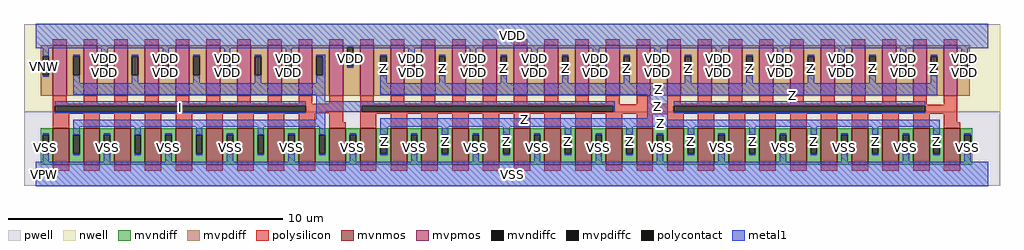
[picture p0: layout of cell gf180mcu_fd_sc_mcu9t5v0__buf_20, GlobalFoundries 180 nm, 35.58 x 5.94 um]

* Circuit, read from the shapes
.subckt gf180mcu_fd_sc_mcu9t5v0__buf_20 I Z VDD VNW VPW VSS
XM1 n1 I VSS VPW nfet_06v0 w=1.32u l=0.6u m=10
XM2 Z n1 VSS VPW nfet_06v0 w=1.32u l=0.6u m=20
XM3 n1 I VDD VNW pfet_06v0 w=1.83u l=0.5u m=10
XM4 Z n1 VDD VNW pfet_06v0 w=1.83u l=0.5u m=20
.ends

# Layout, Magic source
magic
tech gf180mcuD
magscale 1 10
<< nwell >>
rect -86 453 7030 1094
<< pwell >>
rect -86 -86 7030 453
<< mvnmos >>
rect 124 69 244 333
rect 348 69 468 333
rect 572 69 692 333
rect 796 69 916 333
rect 1020 69 1140 333
rect 1244 69 1364 333
rect 1468 69 1588 333
rect 1692 69 1812 333
rect 1916 69 2036 333
rect 2140 69 2260 333
rect 2364 69 2484 333
rect 2588 69 2708 333
rect 2812 69 2932 333
rect 3036 69 3156 333
rect 3260 69 3380 333
rect 3484 69 3604 333
rect 3708 69 3828 333
rect 3932 69 4052 333
rect 4156 69 4276 333
rect 4380 69 4500 333
rect 4604 69 4724 333
rect 4828 69 4948 333
rect 5052 69 5172 333
rect 5276 69 5396 333
rect 5500 69 5620 333
rect 5724 69 5844 333
rect 5948 69 6068 333
rect 6172 69 6292 333
rect 6396 69 6516 333
rect 6620 69 6740 333
<< mvpmos >>
rect 124 573 224 939
rect 348 573 448 939
rect 572 573 672 939
rect 796 573 896 939
rect 1020 573 1120 939
rect 1244 573 1344 939
rect 1468 573 1568 939
rect 1692 573 1792 939
rect 1916 573 2016 939
rect 2140 573 2240 939
rect 2364 573 2464 939
rect 2588 573 2688 939
rect 2812 573 2912 939
rect 3036 573 3136 939
rect 3260 573 3360 939
rect 3484 573 3584 939
rect 3708 573 3808 939
rect 3932 573 4032 939
rect 4156 573 4256 939
rect 4380 573 4480 939
rect 4604 573 4704 939
rect 4828 573 4928 939
rect 5052 573 5152 939
rect 5276 573 5376 939
rect 5500 573 5600 939
rect 5724 573 5824 939
rect 5948 573 6048 939
rect 6172 573 6272 939
rect 6396 573 6496 939
rect 6620 573 6720 939
<< mvndiff >>
rect 36 287 124 333
rect 36 147 49 287
rect 95 147 124 287
rect 36 69 124 147
rect 244 287 348 333
rect 244 147 273 287
rect 319 147 348 287
rect 244 69 348 147
rect 468 287 572 333
rect 468 147 497 287
rect 543 147 572 287
rect 468 69 572 147
rect 692 287 796 333
rect 692 147 721 287
rect 767 147 796 287
rect 692 69 796 147
rect 916 287 1020 333
rect 916 147 945 287
rect 991 147 1020 287
rect 916 69 1020 147
rect 1140 287 1244 333
rect 1140 147 1169 287
rect 1215 147 1244 287
rect 1140 69 1244 147
rect 1364 287 1468 333
rect 1364 147 1393 287
rect 1439 147 1468 287
rect 1364 69 1468 147
rect 1588 287 1692 333
rect 1588 147 1617 287
rect 1663 147 1692 287
rect 1588 69 1692 147
rect 1812 287 1916 333
rect 1812 147 1841 287
rect 1887 147 1916 287
rect 1812 69 1916 147
rect 2036 287 2140 333
rect 2036 147 2065 287
rect 2111 147 2140 287
rect 2036 69 2140 147
rect 2260 287 2364 333
rect 2260 147 2289 287
rect 2335 147 2364 287
rect 2260 69 2364 147
rect 2484 287 2588 333
rect 2484 147 2513 287
rect 2559 147 2588 287
rect 2484 69 2588 147
rect 2708 287 2812 333
rect 2708 147 2737 287
rect 2783 147 2812 287
rect 2708 69 2812 147
rect 2932 287 3036 333
rect 2932 147 2961 287
rect 3007 147 3036 287
rect 2932 69 3036 147
rect 3156 287 3260 333
rect 3156 147 3185 287
rect 3231 147 3260 287
rect 3156 69 3260 147
rect 3380 287 3484 333
rect 3380 147 3409 287
rect 3455 147 3484 287
rect 3380 69 3484 147
rect 3604 287 3708 333
rect 3604 147 3633 287
rect 3679 147 3708 287
rect 3604 69 3708 147
rect 3828 287 3932 333
rect 3828 147 3857 287
rect 3903 147 3932 287
rect 3828 69 3932 147
rect 4052 287 4156 333
rect 4052 147 4081 287
rect 4127 147 4156 287
rect 4052 69 4156 147
rect 4276 287 4380 333
rect 4276 147 4305 287
rect 4351 147 4380 287
rect 4276 69 4380 147
rect 4500 287 4604 333
rect 4500 147 4529 287
rect 4575 147 4604 287
rect 4500 69 4604 147
rect 4724 287 4828 333
rect 4724 147 4753 287
rect 4799 147 4828 287
rect 4724 69 4828 147
rect 4948 287 5052 333
rect 4948 147 4977 287
rect 5023 147 5052 287
rect 4948 69 5052 147
rect 5172 287 5276 333
rect 5172 147 5201 287
rect 5247 147 5276 287
rect 5172 69 5276 147
rect 5396 287 5500 333
rect 5396 147 5425 287
rect 5471 147 5500 287
rect 5396 69 5500 147
rect 5620 287 5724 333
rect 5620 147 5649 287
rect 5695 147 5724 287
rect 5620 69 5724 147
rect 5844 287 5948 333
rect 5844 147 5873 287
rect 5919 147 5948 287
rect 5844 69 5948 147
rect 6068 287 6172 333
rect 6068 147 6097 287
rect 6143 147 6172 287
rect 6068 69 6172 147
rect 6292 287 6396 333
rect 6292 147 6321 287
rect 6367 147 6396 287
rect 6292 69 6396 147
rect 6516 287 6620 333
rect 6516 147 6545 287
rect 6591 147 6620 287
rect 6516 69 6620 147
rect 6740 287 6828 333
rect 6740 147 6769 287
rect 6815 147 6828 287
rect 6740 69 6828 147
<< mvpdiff >>
rect 36 861 124 939
rect 36 721 49 861
rect 95 721 124 861
rect 36 573 124 721
rect 224 861 348 939
rect 224 721 273 861
rect 319 721 348 861
rect 224 573 348 721
rect 448 861 572 939
rect 448 721 477 861
rect 523 721 572 861
rect 448 573 572 721
rect 672 861 796 939
rect 672 721 701 861
rect 747 721 796 861
rect 672 573 796 721
rect 896 861 1020 939
rect 896 721 925 861
rect 971 721 1020 861
rect 896 573 1020 721
rect 1120 861 1244 939
rect 1120 721 1149 861
rect 1195 721 1244 861
rect 1120 573 1244 721
rect 1344 861 1468 939
rect 1344 721 1373 861
rect 1419 721 1468 861
rect 1344 573 1468 721
rect 1568 861 1692 939
rect 1568 721 1597 861
rect 1643 721 1692 861
rect 1568 573 1692 721
rect 1792 861 1916 939
rect 1792 721 1821 861
rect 1867 721 1916 861
rect 1792 573 1916 721
rect 2016 861 2140 939
rect 2016 721 2045 861
rect 2091 721 2140 861
rect 2016 573 2140 721
rect 2240 926 2364 939
rect 2240 786 2269 926
rect 2315 786 2364 926
rect 2240 573 2364 786
rect 2464 861 2588 939
rect 2464 721 2513 861
rect 2559 721 2588 861
rect 2464 573 2588 721
rect 2688 861 2812 939
rect 2688 721 2717 861
rect 2763 721 2812 861
rect 2688 573 2812 721
rect 2912 861 3036 939
rect 2912 721 2941 861
rect 2987 721 3036 861
rect 2912 573 3036 721
rect 3136 861 3260 939
rect 3136 721 3165 861
rect 3211 721 3260 861
rect 3136 573 3260 721
rect 3360 861 3484 939
rect 3360 721 3389 861
rect 3435 721 3484 861
rect 3360 573 3484 721
rect 3584 861 3708 939
rect 3584 721 3613 861
rect 3659 721 3708 861
rect 3584 573 3708 721
rect 3808 861 3932 939
rect 3808 721 3837 861
rect 3883 721 3932 861
rect 3808 573 3932 721
rect 4032 861 4156 939
rect 4032 721 4061 861
rect 4107 721 4156 861
rect 4032 573 4156 721
rect 4256 861 4380 939
rect 4256 721 4285 861
rect 4331 721 4380 861
rect 4256 573 4380 721
rect 4480 861 4604 939
rect 4480 721 4509 861
rect 4555 721 4604 861
rect 4480 573 4604 721
rect 4704 861 4828 939
rect 4704 721 4733 861
rect 4779 721 4828 861
rect 4704 573 4828 721
rect 4928 861 5052 939
rect 4928 721 4957 861
rect 5003 721 5052 861
rect 4928 573 5052 721
rect 5152 861 5276 939
rect 5152 721 5181 861
rect 5227 721 5276 861
rect 5152 573 5276 721
rect 5376 861 5500 939
rect 5376 721 5405 861
rect 5451 721 5500 861
rect 5376 573 5500 721
rect 5600 861 5724 939
rect 5600 721 5629 861
rect 5675 721 5724 861
rect 5600 573 5724 721
rect 5824 861 5948 939
rect 5824 721 5853 861
rect 5899 721 5948 861
rect 5824 573 5948 721
rect 6048 861 6172 939
rect 6048 721 6077 861
rect 6123 721 6172 861
rect 6048 573 6172 721
rect 6272 861 6396 939
rect 6272 721 6301 861
rect 6347 721 6396 861
rect 6272 573 6396 721
rect 6496 861 6620 939
rect 6496 721 6525 861
rect 6571 721 6620 861
rect 6496 573 6620 721
rect 6720 861 6808 939
rect 6720 721 6749 861
rect 6795 721 6808 861
rect 6720 573 6808 721
<< mvndiffc >>
rect 49 147 95 287
rect 273 147 319 287
rect 497 147 543 287
rect 721 147 767 287
rect 945 147 991 287
rect 1169 147 1215 287
rect 1393 147 1439 287
rect 1617 147 1663 287
rect 1841 147 1887 287
rect 2065 147 2111 287
rect 2289 147 2335 287
rect 2513 147 2559 287
rect 2737 147 2783 287
rect 2961 147 3007 287
rect 3185 147 3231 287
rect 3409 147 3455 287
rect 3633 147 3679 287
rect 3857 147 3903 287
rect 4081 147 4127 287
rect 4305 147 4351 287
rect 4529 147 4575 287
rect 4753 147 4799 287
rect 4977 147 5023 287
rect 5201 147 5247 287
rect 5425 147 5471 287
rect 5649 147 5695 287
rect 5873 147 5919 287
rect 6097 147 6143 287
rect 6321 147 6367 287
rect 6545 147 6591 287
rect 6769 147 6815 287
<< mvpdiffc >>
rect 49 721 95 861
rect 273 721 319 861
rect 477 721 523 861
rect 701 721 747 861
rect 925 721 971 861
rect 1149 721 1195 861
rect 1373 721 1419 861
rect 1597 721 1643 861
rect 1821 721 1867 861
rect 2045 721 2091 861
rect 2269 786 2315 926
rect 2513 721 2559 861
rect 2717 721 2763 861
rect 2941 721 2987 861
rect 3165 721 3211 861
rect 3389 721 3435 861
rect 3613 721 3659 861
rect 3837 721 3883 861
rect 4061 721 4107 861
rect 4285 721 4331 861
rect 4509 721 4555 861
rect 4733 721 4779 861
rect 4957 721 5003 861
rect 5181 721 5227 861
rect 5405 721 5451 861
rect 5629 721 5675 861
rect 5853 721 5899 861
rect 6077 721 6123 861
rect 6301 721 6347 861
rect 6525 721 6571 861
rect 6749 721 6795 861
<< polysilicon >>
rect 124 939 224 983
rect 348 939 448 983
rect 572 939 672 983
rect 796 939 896 983
rect 1020 939 1120 983
rect 1244 939 1344 983
rect 1468 939 1568 983
rect 1692 939 1792 983
rect 1916 939 2016 983
rect 2140 939 2240 983
rect 2364 939 2464 983
rect 2588 939 2688 983
rect 2812 939 2912 983
rect 3036 939 3136 983
rect 3260 939 3360 983
rect 3484 939 3584 983
rect 3708 939 3808 983
rect 3932 939 4032 983
rect 4156 939 4256 983
rect 4380 939 4480 983
rect 4604 939 4704 983
rect 4828 939 4928 983
rect 5052 939 5152 983
rect 5276 939 5376 983
rect 5500 939 5600 983
rect 5724 939 5824 983
rect 5948 939 6048 983
rect 6172 939 6272 983
rect 6396 939 6496 983
rect 6620 939 6720 983
rect 124 513 224 573
rect 348 513 448 573
rect 572 513 672 573
rect 796 513 896 573
rect 1020 513 1120 573
rect 1244 513 1344 573
rect 1468 513 1568 573
rect 1692 513 1792 573
rect 1916 513 2016 573
rect 2140 513 2240 573
rect 124 500 2240 513
rect 124 454 137 500
rect 1969 454 2240 500
rect 124 443 2240 454
rect 124 441 2036 443
rect 124 333 244 441
rect 348 333 468 441
rect 572 333 692 441
rect 796 333 916 441
rect 1020 333 1140 441
rect 1244 333 1364 441
rect 1468 333 1588 441
rect 1692 333 1812 441
rect 1916 333 2036 441
rect 2140 377 2240 443
rect 2364 513 2464 573
rect 2588 513 2688 573
rect 2812 513 2912 573
rect 3036 513 3136 573
rect 3260 513 3360 573
rect 3484 513 3584 573
rect 3708 513 3808 573
rect 3932 513 4032 573
rect 4156 513 4256 573
rect 2364 510 4256 513
rect 4380 513 4480 573
rect 4604 513 4704 573
rect 4828 513 4928 573
rect 5052 513 5152 573
rect 5276 513 5376 573
rect 5500 513 5600 573
rect 5724 513 5824 573
rect 5948 513 6048 573
rect 6172 513 6272 573
rect 6396 513 6496 573
rect 4380 510 6496 513
rect 2364 507 6496 510
rect 6620 507 6720 573
rect 2364 500 6720 507
rect 2364 454 2377 500
rect 4209 454 4653 500
rect 6485 454 6720 500
rect 2364 441 6720 454
rect 2140 333 2260 377
rect 2364 333 2484 441
rect 2588 333 2708 441
rect 2812 333 2932 441
rect 3036 333 3156 441
rect 3260 333 3380 441
rect 3484 333 3604 441
rect 3708 333 3828 441
rect 3932 333 4052 441
rect 4156 439 4724 441
rect 4156 333 4276 439
rect 4380 435 4724 439
rect 4380 333 4500 435
rect 4604 333 4724 435
rect 4828 333 4948 441
rect 5052 333 5172 441
rect 5276 333 5396 441
rect 5500 333 5620 441
rect 5724 333 5844 441
rect 5948 333 6068 441
rect 6172 333 6292 441
rect 6396 440 6720 441
rect 6396 333 6516 440
rect 6620 377 6720 440
rect 6620 333 6740 377
rect 124 25 244 69
rect 348 25 468 69
rect 572 25 692 69
rect 796 25 916 69
rect 1020 25 1140 69
rect 1244 25 1364 69
rect 1468 25 1588 69
rect 1692 25 1812 69
rect 1916 25 2036 69
rect 2140 25 2260 69
rect 2364 25 2484 69
rect 2588 25 2708 69
rect 2812 25 2932 69
rect 3036 25 3156 69
rect 3260 25 3380 69
rect 3484 25 3604 69
rect 3708 25 3828 69
rect 3932 25 4052 69
rect 4156 25 4276 69
rect 4380 25 4500 69
rect 4604 25 4724 69
rect 4828 25 4948 69
rect 5052 25 5172 69
rect 5276 25 5396 69
rect 5500 25 5620 69
rect 5724 25 5844 69
rect 5948 25 6068 69
rect 6172 25 6292 69
rect 6396 25 6516 69
rect 6620 25 6740 69
<< polycontact >>
rect 137 454 1969 500
rect 2377 454 4209 500
rect 4653 454 6485 500
<< metal1 >>
rect 0 926 6944 1098
rect 0 918 2269 926
rect 49 861 95 918
rect 49 710 95 721
rect 273 861 319 872
rect 273 664 319 721
rect 477 861 523 918
rect 477 710 523 721
rect 701 861 747 872
rect 701 664 747 721
rect 925 861 971 918
rect 925 710 971 721
rect 1149 861 1195 872
rect 1149 664 1195 721
rect 1373 861 1419 918
rect 1373 710 1419 721
rect 1597 861 1643 872
rect 1597 664 1643 721
rect 1821 861 1867 918
rect 1821 710 1867 721
rect 2045 861 2111 872
rect 2091 721 2111 861
rect 2315 918 6944 926
rect 2269 775 2315 786
rect 2513 861 2559 872
rect 2045 664 2111 721
rect 273 580 2111 664
rect 2045 530 2111 580
rect 2513 664 2559 721
rect 2717 861 2763 918
rect 2717 710 2763 721
rect 2941 861 2987 872
rect 2941 664 2987 721
rect 3165 861 3211 918
rect 3165 710 3211 721
rect 3389 861 3435 872
rect 3389 664 3435 721
rect 3613 861 3659 918
rect 3613 710 3659 721
rect 3837 861 3883 872
rect 3837 664 3883 721
rect 4061 861 4107 918
rect 4061 710 4107 721
rect 4285 861 4331 872
rect 4285 664 4331 721
rect 4509 861 4555 918
rect 4509 710 4555 721
rect 4733 861 4779 872
rect 4733 664 4779 721
rect 4957 861 5003 918
rect 4957 710 5003 721
rect 5181 861 5227 872
rect 5181 664 5227 721
rect 5405 861 5451 918
rect 5405 710 5451 721
rect 5629 861 5675 872
rect 5629 664 5675 721
rect 5853 861 5899 918
rect 5853 710 5899 721
rect 6077 861 6123 872
rect 6077 664 6123 721
rect 6301 861 6347 918
rect 6301 710 6347 721
rect 6525 861 6571 872
rect 6525 664 6571 721
rect 6749 861 6795 918
rect 6749 710 6795 721
rect 2513 577 6571 664
rect 4457 576 6571 577
rect 137 500 1969 530
rect 137 443 1969 454
rect 2045 500 4220 530
rect 2045 454 2377 500
rect 4209 454 4220 500
rect 2045 395 2111 454
rect 4457 406 4607 576
rect 4653 500 6485 530
rect 4653 443 6485 454
rect 273 344 2111 395
rect 49 287 95 298
rect 49 90 95 147
rect 273 287 319 344
rect 273 136 319 147
rect 497 287 543 298
rect 497 90 543 147
rect 721 287 767 344
rect 721 136 767 147
rect 945 287 991 298
rect 945 90 991 147
rect 1169 287 1215 344
rect 1169 136 1215 147
rect 1393 287 1439 298
rect 1393 90 1439 147
rect 1617 287 1663 344
rect 1617 136 1663 147
rect 1841 287 1887 298
rect 1841 90 1887 147
rect 2065 287 2111 344
rect 2513 396 4607 406
rect 2513 344 6591 396
rect 2065 136 2111 147
rect 2289 287 2335 298
rect 2289 90 2335 147
rect 2513 287 2565 344
rect 2559 147 2565 287
rect 2513 136 2565 147
rect 2737 287 2783 298
rect 2737 90 2783 147
rect 2961 287 3007 344
rect 2961 136 3007 147
rect 3185 287 3231 298
rect 3185 90 3231 147
rect 3409 287 3455 344
rect 3409 136 3455 147
rect 3633 287 3679 298
rect 3633 90 3679 147
rect 3857 287 3903 344
rect 3857 136 3903 147
rect 4081 287 4127 298
rect 4081 90 4127 147
rect 4305 287 4351 344
rect 4305 136 4351 147
rect 4529 287 4575 298
rect 4529 90 4575 147
rect 4753 287 4799 344
rect 4753 136 4799 147
rect 4977 287 5023 298
rect 4977 90 5023 147
rect 5201 287 5247 344
rect 5201 136 5247 147
rect 5425 287 5471 298
rect 5425 90 5471 147
rect 5649 287 5695 344
rect 5649 136 5695 147
rect 5873 287 5919 298
rect 5873 90 5919 147
rect 6097 287 6143 344
rect 6097 136 6143 147
rect 6321 287 6367 298
rect 6321 90 6367 147
rect 6545 287 6591 344
rect 6545 136 6591 147
rect 6769 287 6815 298
rect 6769 90 6815 147
rect 0 -90 6944 90
<< labels >>
flabel metal1 s 137 443 1969 530 0 FreeSans 200 0 0 0 I
port 1 nsew default input
flabel metal1 s 0 918 6944 1098 0 FreeSans 200 0 0 0 VDD
port 3 nsew power bidirectional abutment
flabel metal1 s 6769 90 6815 298 0 FreeSans 200 0 0 0 VSS
port 6 nsew ground bidirectional abutment
flabel metal1 s 6525 664 6571 872 0 FreeSans 200 0 0 0 Z
port 2 nsew default output
flabel nwell s 10 734 110 834 0 FreeSans 400 0 0 0 VNW
port 4 nsew power bidirectional
flabel pwell s 10 -50 110 50 0 FreeSans 400 0 0 0 VPW
port 5 nsew ground bidirectional
rlabel metal1 s 6077 664 6123 872 1 Z
port 2 nsew default output
rlabel metal1 s 5629 664 5675 872 1 Z
port 2 nsew default output
rlabel metal1 s 5181 664 5227 872 1 Z
port 2 nsew default output
rlabel metal1 s 4733 664 4779 872 1 Z
port 2 nsew default output
rlabel metal1 s 4285 664 4331 872 1 Z
port 2 nsew default output
rlabel metal1 s 3837 664 3883 872 1 Z
port 2 nsew default output
rlabel metal1 s 3389 664 3435 872 1 Z
port 2 nsew default output
rlabel metal1 s 2941 664 2987 872 1 Z
port 2 nsew default output
rlabel metal1 s 2513 664 2559 872 1 Z
port 2 nsew default output
rlabel metal1 s 2513 577 6571 664 1 Z
port 2 nsew default output
rlabel metal1 s 4457 576 6571 577 1 Z
port 2 nsew default output
rlabel metal1 s 4457 406 4607 576 1 Z
port 2 nsew default output
rlabel metal1 s 2513 396 4607 406 1 Z
port 2 nsew default output
rlabel metal1 s 2513 344 6591 396 1 Z
port 2 nsew default output
rlabel metal1 s 6545 136 6591 344 1 Z
port 2 nsew default output
rlabel metal1 s 6097 136 6143 344 1 Z
port 2 nsew default output
rlabel metal1 s 5649 136 5695 344 1 Z
port 2 nsew default output
rlabel metal1 s 5201 136 5247 344 1 Z
port 2 nsew default output
rlabel metal1 s 4753 136 4799 344 1 Z
port 2 nsew default output
rlabel metal1 s 4305 136 4351 344 1 Z
port 2 nsew default output
rlabel metal1 s 3857 136 3903 344 1 Z
port 2 nsew default output
rlabel metal1 s 3409 136 3455 344 1 Z
port 2 nsew default output
rlabel metal1 s 2961 136 3007 344 1 Z
port 2 nsew default output
rlabel metal1 s 2513 136 2565 344 1 Z
port 2 nsew default output
rlabel metal1 s 6749 775 6795 918 1 VDD
port 3 nsew power bidirectional abutment
rlabel metal1 s 6301 775 6347 918 1 VDD
port 3 nsew power bidirectional abutment
rlabel metal1 s 5853 775 5899 918 1 VDD
port 3 nsew power bidirectional abutment
rlabel metal1 s 5405 775 5451 918 1 VDD
port 3 nsew power bidirectional abutment
rlabel metal1 s 4957 775 5003 918 1 VDD
port 3 nsew power bidirectional abutment
rlabel metal1 s 4509 775 4555 918 1 VDD
port 3 nsew power bidirectional abutment
rlabel metal1 s 4061 775 4107 918 1 VDD
port 3 nsew power bidirectional abutment
rlabel metal1 s 3613 775 3659 918 1 VDD
port 3 nsew power bidirectional abutment
rlabel metal1 s 3165 775 3211 918 1 VDD
port 3 nsew power bidirectional abutment
rlabel metal1 s 2717 775 2763 918 1 VDD
port 3 nsew power bidirectional abutment
rlabel metal1 s 2269 775 2315 918 1 VDD
port 3 nsew power bidirectional abutment
rlabel metal1 s 1821 775 1867 918 1 VDD
port 3 nsew power bidirectional abutment
rlabel metal1 s 1373 775 1419 918 1 VDD
port 3 nsew power bidirectional abutment
rlabel metal1 s 925 775 971 918 1 VDD
port 3 nsew power bidirectional abutment
rlabel metal1 s 477 775 523 918 1 VDD
port 3 nsew power bidirectional abutment
rlabel metal1 s 49 775 95 918 1 VDD
port 3 nsew power bidirectional abutment
rlabel metal1 s 6749 710 6795 775 1 VDD
port 3 nsew power bidirectional abutment
rlabel metal1 s 6301 710 6347 775 1 VDD
port 3 nsew power bidirectional abutment
rlabel metal1 s 5853 710 5899 775 1 VDD
port 3 nsew power bidirectional abutment
rlabel metal1 s 5405 710 5451 775 1 VDD
port 3 nsew power bidirectional abutment
rlabel metal1 s 4957 710 5003 775 1 VDD
port 3 nsew power bidirectional abutment
rlabel metal1 s 4509 710 4555 775 1 VDD
port 3 nsew power bidirectional abutment
rlabel metal1 s 4061 710 4107 775 1 VDD
port 3 nsew power bidirectional abutment
rlabel metal1 s 3613 710 3659 775 1 VDD
port 3 nsew power bidirectional abutment
rlabel metal1 s 3165 710 3211 775 1 VDD
port 3 nsew power bidirectional abutment
rlabel metal1 s 2717 710 2763 775 1 VDD
port 3 nsew power bidirectional abutment
rlabel metal1 s 1821 710 1867 775 1 VDD
port 3 nsew power bidirectional abutment
rlabel metal1 s 1373 710 1419 775 1 VDD
port 3 nsew power bidirectional abutment
rlabel metal1 s 925 710 971 775 1 VDD
port 3 nsew power bidirectional abutment
rlabel metal1 s 477 710 523 775 1 VDD
port 3 nsew power bidirectional abutment
rlabel metal1 s 49 710 95 775 1 VDD
port 3 nsew power bidirectional abutment
rlabel metal1 s 6321 90 6367 298 1 VSS
port 6 nsew ground bidirectional abutment
rlabel metal1 s 5873 90 5919 298 1 VSS
port 6 nsew ground bidirectional abutment
rlabel metal1 s 5425 90 5471 298 1 VSS
port 6 nsew ground bidirectional abutment
rlabel metal1 s 4977 90 5023 298 1 VSS
port 6 nsew ground bidirectional abutment
rlabel metal1 s 4529 90 4575 298 1 VSS
port 6 nsew ground bidirectional abutment
rlabel metal1 s 4081 90 4127 298 1 VSS
port 6 nsew ground bidirectional abutment
rlabel metal1 s 3633 90 3679 298 1 VSS
port 6 nsew ground bidirectional abutment
rlabel metal1 s 3185 90 3231 298 1 VSS
port 6 nsew ground bidirectional abutment
rlabel metal1 s 2737 90 2783 298 1 VSS
port 6 nsew ground bidirectional abutment
rlabel metal1 s 2289 90 2335 298 1 VSS
port 6 nsew ground bidirectional abutment
rlabel metal1 s 1841 90 1887 298 1 VSS
port 6 nsew ground bidirectional abutment
rlabel metal1 s 1393 90 1439 298 1 VSS
port 6 nsew ground bidirectional abutment
rlabel metal1 s 945 90 991 298 1 VSS
port 6 nsew ground bidirectional abutment
rlabel metal1 s 497 90 543 298 1 VSS
port 6 nsew ground bidirectional abutment
rlabel metal1 s 49 90 95 298 1 VSS
port 6 nsew ground bidirectional abutment
rlabel metal1 s 0 -90 6944 90 1 VSS
port 6 nsew ground bidirectional abutment
<< properties >>
string FIXED_BBOX 0 0 6944 1008
string GDS_END 1325338
string GDS_FILE $PDKPATH/libs.ref/gf180mcu_fd_sc_mcu9t5v0/gds/gf180mcu_fd_sc_mcu9t5v0.gds
string GDS_START 1307956
string LEFclass core
string LEFsite GF018hv5v_green_sc9
string LEFsymmetry X Y
<< end >>
